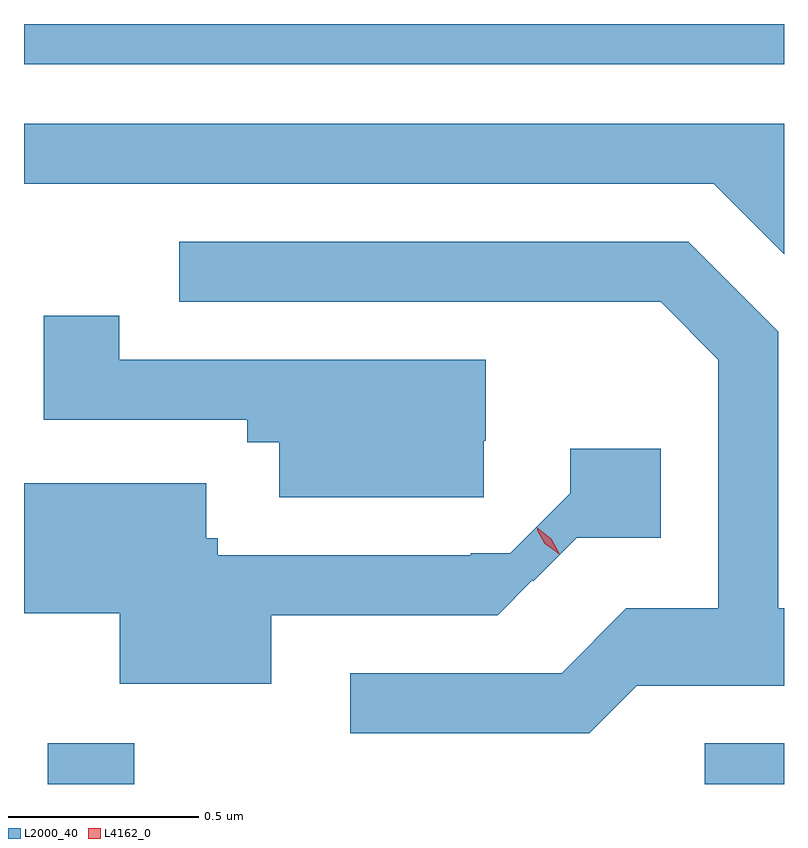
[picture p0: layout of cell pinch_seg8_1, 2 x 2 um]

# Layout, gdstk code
import gdstk
lib = gdstk.Library(unit=1e-6, precision=1e-09)
def R(c, l, rs):  # rectangles x0, y0, x1, y1
    for r in rs: c.add(gdstk.rectangle(r[:2], r[2:], *l))
def P(c, l, *ps):  # polygons
    for p in ps: c.add(gdstk.Polygon(p, *l))
L2000_40 = (2000, 40)
L4162_0 = (4162, 0)

pinch_seg8_1 = lib.new_cell('pinch_seg8_1')
R(pinch_seg8_1, L2000_40, [(1719.356,1912.222,1719.584,1912.329), (1721.086,1912.222,1721.294,1912.329), (1719.294,1914.116,1721.294,1914.222)])
P(pinch_seg8_1, L2000_40, [(1721.294,1913.959),(1719.294,1913.959),(1719.294,1913.801),(1721.109,1913.801),(1721.294,1913.616)],
  [(1720.907,1912.481),(1721.294,1912.481),(1721.294,1912.684),(1721.279,1912.684),(1721.279,1913.412),(1721.042,1913.649),(1719.703,1913.649),(1719.703,1913.491),(1720.969,1913.491),(1721.121,1913.339),(1721.121,1912.684),(1720.879,1912.684),(1720.709,1912.514),(1720.153,1912.514),(1720.153,1912.356),(1720.782,1912.356)],
  [(1720.504,1913.125),(1720.509,1913.125),(1720.509,1913.339),(1719.544,1913.339),(1719.544,1913.454),(1719.346,1913.454),(1719.346,1913.181),(1719.881,1913.181),(1719.881,1913.121),(1719.966,1913.121),(1719.966,1912.976),(1720.504,1912.976)],
  [(1719.944,1912.666),(1720.541,1912.666),(1720.632,1912.758),(1720.634,1912.756),(1720.748,1912.87),(1720.969,1912.87),(1720.969,1913.104),(1720.731,1913.104),(1720.731,1912.987),(1720.573,1912.829),(1720.47,1912.829),(1720.47,1912.824),(1719.804,1912.824),(1719.804,1912.869),(1719.774,1912.869),(1719.774,1913.014),(1719.294,1913.014),(1719.294,1912.671),(1719.546,1912.671),(1719.546,1912.486),(1719.944,1912.486)])
P(pinch_seg8_1, L4162_0, [(1720.703,1912.827),(1720.666,1912.855),(1720.643,1912.896),(1720.643,1912.897),(1720.644,1912.897),(1720.681,1912.868),(1720.704,1912.827),(1720.704,1912.827)],
  [(1720.699,1912.831),(1720.665,1912.854),(1720.645,1912.89),(1720.645,1912.891),(1720.646,1912.891),(1720.68,1912.868),(1720.7,1912.832),(1720.7,1912.831)])

lib.write_gds('pinch_seg8_1.gds')
